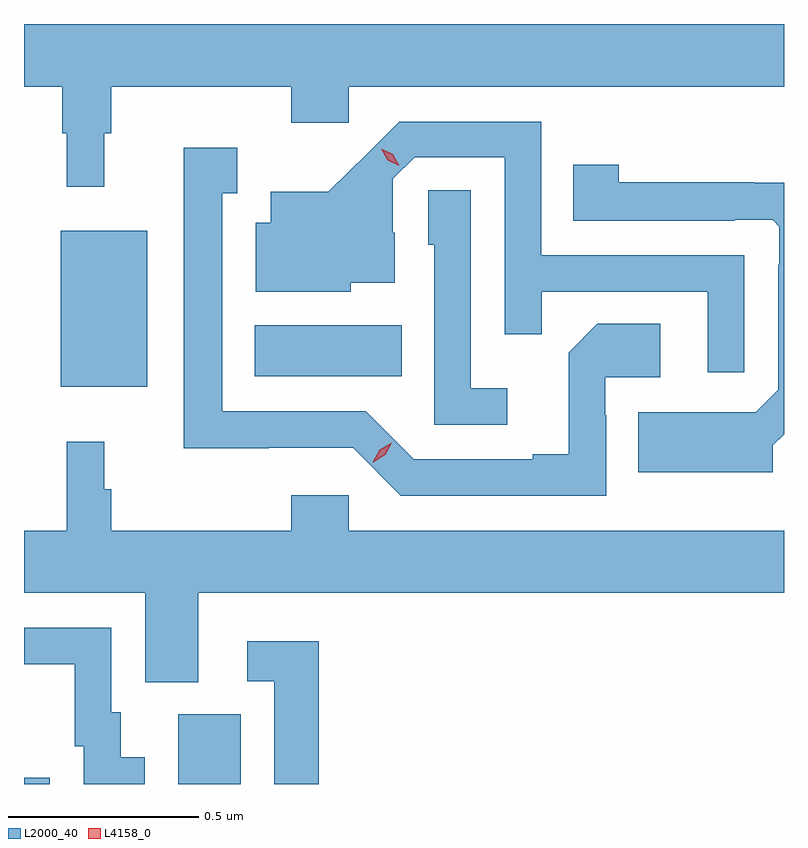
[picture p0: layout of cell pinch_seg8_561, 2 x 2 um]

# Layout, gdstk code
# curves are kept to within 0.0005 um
import gdstk
lib = gdstk.Library(unit=1e-6, precision=1e-09)
def R(c, l, rs):  # rectangles x0, y0, x1, y1
    for r in rs: c.add(gdstk.rectangle(r[:2], r[2:], *l))
def P(c, l, *ps):  # polygons
    for p in ps: c.add(gdstk.Polygon(p, *l))
L2000_40 = (2000, 40)
L4158_0 = (4158, 0)

pinch_seg8_561 = lib.new_cell('pinch_seg8_561')
R(pinch_seg8_561, L2000_40, [(142.534,1117.329,142.602,1117.345), (142.94,1117.329,143.104,1117.512), (142.631,1118.375,142.858,1118.785), (143.141,1118.402,143.528,1118.536)])
P(pinch_seg8_561, L2000_40, [(142.745,1119.041),(142.763,1119.041),(142.763,1119.164),(143.237,1119.164),(143.237,1119.069),(143.388,1119.069),(143.388,1119.164),(144.534,1119.164),(144.534,1119.328),(144.256,1119.328),(144.256,1119.329),(144.145,1119.329),(144.145,1119.328),(143.911,1119.328),(143.911,1119.329),(143.801,1119.329),(143.801,1119.328),(143.371,1119.328),(143.371,1119.329),(143.224,1119.329),(143.224,1119.328),(142.549,1119.328),(142.549,1119.329),(142.534,1119.329),(142.534,1119.164),(142.635,1119.164),(142.635,1119.041),(142.646,1119.041),(142.646,1118.901),(142.745,1118.901)],
  [(144.429,1118.721),(143.895,1118.721),(143.895,1119.072),(143.522,1119.072),(143.335,1118.887),(143.183,1118.887),(143.183,1118.806),(143.144,1118.806),(143.144,1118.624),(143.394,1118.624),(143.394,1118.648),(143.509,1118.648),(143.509,1118.78),(143.505,1118.78),(143.505,1118.922),(143.562,1118.979),(143.799,1118.979),(143.799,1118.512),(143.897,1118.512),(143.897,1118.625),(144.333,1118.625),(144.333,1118.412),(144.429,1118.412)],
  [(144.066,1118.3),(144.063,1118.3),(144.063,1118.4),(144.208,1118.4),(144.208,1118.54),(144.043,1118.54),(143.967,1118.464),(143.967,1118.197),(143.873,1118.197),(143.873,1118.184),(143.559,1118.184),(143.433,1118.31),(143.056,1118.31),(143.056,1118.883),(143.095,1118.883),(143.095,1119.004),(142.955,1119.004),(142.955,1118.213),(143.178,1118.213),(143.178,1118.214),(143.4,1118.214),(143.526,1118.088),(144.066,1118.088)],
  [(144.505,1118.22),(144.534,1118.249),(144.534,1118.911),(144.455,1118.911),(144.455,1118.912),(144.099,1118.912),(144.099,1118.959),(143.98,1118.959),(143.98,1118.811),(144.404,1118.811),(144.404,1118.814),(144.504,1118.814),(144.522,1118.796),(144.522,1118.696),(144.519,1118.696),(144.519,1118.367),(144.459,1118.307),(144.151,1118.307),(144.151,1118.15),(144.505,1118.15)],
  [(143.806,1118.371),(143.709,1118.371),(143.709,1118.891),(143.598,1118.891),(143.598,1118.748),(143.613,1118.748),(143.613,1118.274),(143.806,1118.274)],
  [(142.763,1118.105),(142.745,1118.105),(142.745,1118.23),(142.646,1118.23),(142.646,1117.996),(142.534,1117.996),(142.534,1117.832),(142.853,1117.832),(142.853,1117.597),(142.993,1117.597),(142.993,1117.832),(144.534,1117.832),(144.534,1117.996),(143.388,1117.996),(143.388,1118.089),(143.237,1118.089),(143.237,1117.996),(142.763,1117.996)],
  [(142.852,1117.399),(142.789,1117.399),(142.789,1117.518),(142.764,1117.518),(142.764,1117.74),(142.534,1117.74),(142.534,1117.644),(142.667,1117.644),(142.667,1117.428),(142.691,1117.428),(142.691,1117.329),(142.852,1117.329)],
  [(143.309,1117.705),(143.121,1117.705),(143.121,1117.599),(143.193,1117.599),(143.193,1117.329),(143.309,1117.329)])
P(pinch_seg8_561, L4158_0, [(143.522,1118.956),(143.491,1118.971),(143.474,1119.001),(143.474,1119.001),(143.474,1119.001),(143.505,1118.986),(143.522,1118.956),(143.522,1118.956)],
  [(143.452,1118.176),(143.452,1118.176),(143.47,1118.209),(143.502,1118.227),(143.502,1118.227),(143.502,1118.227),(143.484,1118.195),(143.453,1118.176)])

lib.write_gds('pinch_seg8_561.gds')
